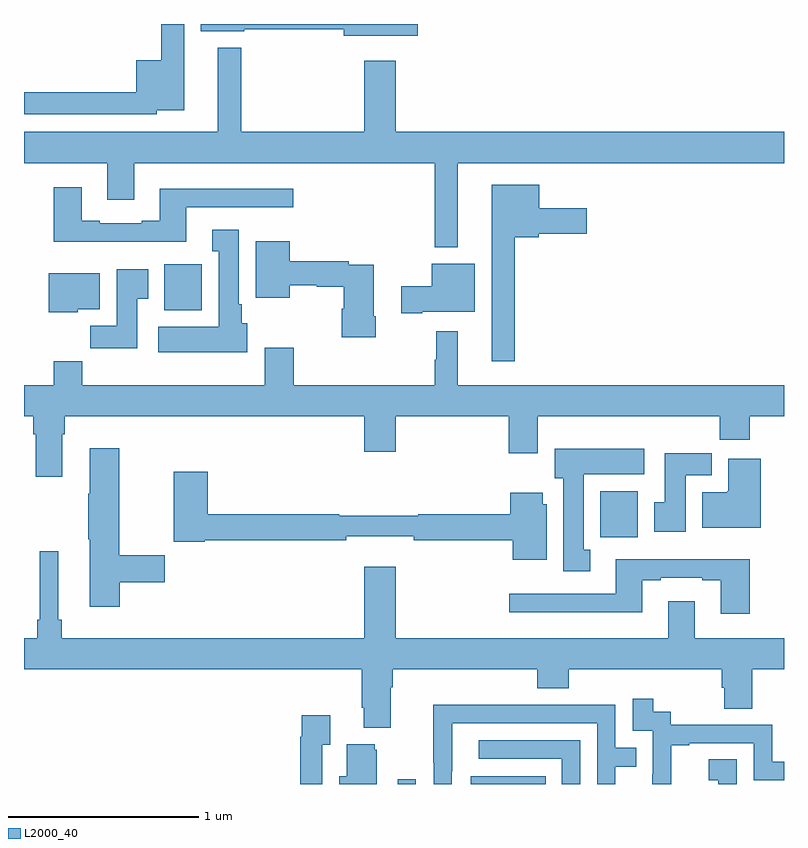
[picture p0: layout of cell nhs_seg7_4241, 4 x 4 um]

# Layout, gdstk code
import gdstk
lib = gdstk.Library(unit=1e-6, precision=1e-09)
def R(c, l, rs):  # rectangles x0, y0, x1, y1
    for r in rs: c.add(gdstk.rectangle(r[:2], r[2:], *l))
def P(c, l, *ps):  # polygons
    for p in ps: c.add(gdstk.Polygon(p, *l))
L2000_40 = (2000, 40)

nhs_seg7_4241 = lib.new_cell('nhs_seg7_4241')
R(nhs_seg7_4241, L2000_40, [(380.967,1012,381.063,1012.024), (381.35,1012,381.746,1012.042), (382.034,1013.3,382.231,1013.542), (379.739,1014.494,379.936,1014.736)])
P(nhs_seg7_4241, L2000_40, [(379.698,1015.547),(379.843,1015.547),(379.843,1016),(379.722,1016),(379.722,1015.81),(379.592,1015.81),(379.592,1015.64),(379,1015.64),(379,1015.524),(379.698,1015.524)],
  [(381.073,1016),(379.931,1016),(379.931,1015.961),(380.158,1015.961),(380.158,1015.972),(380.684,1015.972),(380.684,1015.937),(381.073,1015.937)],
  [(381.283,1015.268),(383,1015.268),(383,1015.432),(380.956,1015.432),(380.956,1015.807),(380.792,1015.807),(380.792,1015.432),(380.143,1015.432),(380.143,1015.876),(380.021,1015.876),(380.021,1015.432),(379,1015.432),(379,1015.268),(379.439,1015.268),(379.439,1015.074),(379.579,1015.074),(379.579,1015.268),(381.162,1015.268),(381.162,1014.824),(381.283,1014.824)],
  [(381.583,1014.878),(381.708,1014.878),(381.708,1014.896),(381.961,1014.896),(381.961,1015.03),(381.712,1015.03),(381.712,1015.153),(381.461,1015.153),(381.461,1014.225),(381.583,1014.225)],
  [(379.855,1015.035),(380.416,1015.035),(380.416,1015.132),(379.715,1015.132),(379.715,1014.964),(379.619,1014.964),(379.619,1014.951),(379.399,1014.951),(379.399,1014.964),(379.303,1014.964),(379.303,1015.141),(379.156,1015.141),(379.156,1014.854),(379.855,1014.854)],
  [(380.176,1014.426),(380.146,1014.426),(380.146,1014.526),(380.131,1014.526),(380.131,1014.916),(379.991,1014.916),(379.991,1014.803),(380.024,1014.803),(380.024,1014.406),(379.707,1014.406),(379.707,1014.272),(380.176,1014.272)],
  [(380.85,1014.463),(380.842,1014.463),(380.842,1014.732),(380.708,1014.732),(380.708,1014.752),(380.398,1014.752),(380.398,1014.856),(380.219,1014.856),(380.219,1014.56),(380.398,1014.56),(380.398,1014.624),(380.541,1014.624),(380.541,1014.616),(380.684,1014.616),(380.684,1014.501),(380.672,1014.501),(380.672,1014.351),(380.85,1014.351)],
  [(381.097,1014.485),(381.373,1014.485),(381.373,1014.739),(381.146,1014.739),(381.146,1014.62),(380.985,1014.62),(380.985,1014.478),(381.097,1014.478)],
  [(379.597,1014.553),(379.654,1014.553),(379.654,1014.709),(379.487,1014.709),(379.487,1014.412),(379.348,1014.412),(379.348,1014.294),(379.597,1014.294)],
  [(379.284,1014.5),(379.399,1014.5),(379.399,1014.688),(379.13,1014.688),(379.13,1014.482),(379.284,1014.482)],
  [(379.201,1013.84),(379.214,1013.84),(379.214,1013.936),(380.792,1013.936),(380.792,1013.748),(380.956,1013.748),(380.956,1013.936),(381.551,1013.936),(381.551,1013.742),(381.703,1013.742),(381.703,1013.936),(382.663,1013.936),(382.663,1013.812),(382.82,1013.812),(382.82,1013.936),(383,1013.936),(383,1014.1),(381.283,1014.1),(381.283,1014.382),(381.169,1014.382),(381.169,1014.233),(381.162,1014.233),(381.162,1014.1),(380.42,1014.1),(380.42,1014.295),(380.267,1014.295),(380.267,1014.1),(379.307,1014.1),(379.307,1014.224),(379.156,1014.224),(379.156,1014.1),(379,1014.1),(379,1013.936),(379.049,1013.936),(379.049,1013.84),(379.061,1013.84),(379.061,1013.616),(379.201,1013.616)],
  [(379.505,1013.062),(379.741,1013.062),(379.741,1013.204),(379.5,1013.204),(379.5,1013.767),(379.346,1013.767),(379.346,1013.528),(379.339,1013.528),(379.339,1013.287),(379.346,1013.287),(379.346,1012.932),(379.505,1012.932)],
  [(381.979,1013.234),(381.946,1013.234),(381.946,1013.63),(382.264,1013.63),(382.264,1013.764),(381.794,1013.764),(381.794,1013.61),(381.839,1013.61),(381.839,1013.121),(381.979,1013.121)],
  [(382.483,1013.624),(382.621,1013.624),(382.621,1013.742),(382.373,1013.742),(382.373,1013.484),(382.316,1013.484),(382.316,1013.328),(382.483,1013.328)],
  [(382.877,1013.713),(382.706,1013.713),(382.706,1013.542),(382.7,1013.542),(382.7,1013.536),(382.571,1013.536),(382.571,1013.348),(382.877,1013.348)],
  [(381.751,1013.472),(381.73,1013.472),(381.73,1013.533),(381.56,1013.533),(381.56,1013.42),(381.076,1013.42),(381.076,1013.413),(380.659,1013.413),(380.659,1013.42),(379.967,1013.42),(379.967,1013.644),(379.789,1013.644),(379.789,1013.276),(379.95,1013.276),(379.95,1013.284),(380.696,1013.284),(380.696,1013.303),(381.052,1013.303),(381.052,1013.284),(381.572,1013.284),(381.572,1013.18),(381.751,1013.18)],
  [(382.673,1012.506),(382.685,1012.506),(382.685,1012.396),(382.833,1012.396),(382.833,1012.604),(383,1012.604),(383,1012.768),(382.531,1012.768),(382.531,1012.963),(382.391,1012.963),(382.391,1012.768),(380.956,1012.768),(380.956,1013.143),(380.792,1013.143),(380.792,1012.768),(379.199,1012.768),(379.199,1012.864),(379.18,1012.864),(379.18,1013.224),(379.083,1013.224),(379.083,1012.864),(379.07,1012.864),(379.07,1012.768),(379,1012.768),(379,1012.604),(380.777,1012.604),(380.777,1012.402),(380.789,1012.402),(380.789,1012.295),(380.929,1012.295),(380.929,1012.508),(380.942,1012.508),(380.942,1012.604),(381.701,1012.604),(381.701,1012.505),(381.866,1012.505),(381.866,1012.604),(382.673,1012.604)],
  [(382.82,1013.182),(382.115,1013.182),(382.115,1013.001),(381.555,1013.001),(381.555,1012.904),(382.255,1012.904),(382.255,1013.073),(382.351,1013.073),(382.351,1013.085),(382.571,1013.085),(382.571,1013.073),(382.667,1013.073),(382.667,1012.896),(382.82,1012.896)],
  [(382.406,1012.203),(382.501,1012.203),(382.501,1012.215),(382.842,1012.215),(382.842,1012.02),(383,1012.02),(383,1012.116),(382.938,1012.116),(382.938,1012.311),(382.404,1012.311),(382.404,1012.38),(382.312,1012.38),(382.312,1012.45),(382.203,1012.45),(382.203,1012.281),(382.308,1012.281),(382.308,1012.052),(382.307,1012.052),(382.307,1012),(382.406,1012)],
  [(381.252,1012.066),(381.253,1012.066),(381.253,1012.32),(382.017,1012.32),(382.017,1012),(382.113,1012),(382.113,1012.09),(382.223,1012.09),(382.223,1012.191),(382.113,1012.191),(382.113,1012.416),(381.617,1012.416),(381.617,1012.418),(381.154,1012.418),(381.154,1012.111),(381.156,1012.111),(381.156,1012),(381.252,1012)],
  [(380.571,1012.207),(380.611,1012.207),(380.611,1012.363),(380.463,1012.363),(380.463,1012.25),(380.455,1012.25),(380.455,1012),(380.571,1012)],
  [(381.927,1012.23),(381.393,1012.23),(381.393,1012.134),(381.831,1012.134),(381.831,1012),(381.927,1012)],
  [(380.857,1012.179),(380.846,1012.179),(380.846,1012.21),(380.699,1012.21),(380.699,1012.042),(380.66,1012.042),(380.66,1012),(380.857,1012)],
  [(382.752,1012.129),(382.605,1012.129),(382.605,1012.019),(382.654,1012.019),(382.654,1012),(382.752,1012)])

lib.write_gds('nhs_seg7_4241.gds')
